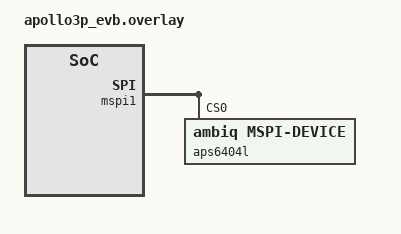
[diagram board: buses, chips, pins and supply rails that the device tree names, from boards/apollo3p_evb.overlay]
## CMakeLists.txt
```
# SPDX-License-Identifier: Apache-2.0

cmake_minimum_required(VERSION 3.28.0)

find_package(Zephyr REQUIRED HINTS $ENV{ZEPHYR_BASE})
project(memc)


if(CONFIG_MEMC_MCUX_FLEXSPI)
  target_include_directories(app PRIVATE ${ZEPHYR_BASE}/drivers/memc)
endif()

if(CONFIG_MEMC_MSPI)
  target_include_directories(app PRIVATE ${ZEPHYR_BASE}/include/zephyr/drivers)
  target_include_directories(app PRIVATE ${ZEPHYR_BASE}/drivers/mspi)
endif()

target_sources(app PRIVATE src/main.c)
```

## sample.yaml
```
sample:
  description: Memory controller sample
  name: memc driver sample
common:
  tags: memc
  harness: console
  harness_config:
    type: one_line
    regex:
      - "Read data matches written data"
tests:
  sample.drivers.memc:
    filter: dt_alias_exists("sram-ext")
    integration_platforms:
      - mimxrt595_evk/mimxrt595s/cm33
  sample.drivers.memc.mspi:
    tags: mspi
    filter: dt_alias_exists("psram0")
    integration_platforms:
      - apollo3p_evb
      - apollo510_evb
  sample.drivers.memc.stm32_mspi:
    tags: mspi
    filter: dt_alias_exists("psram0")
    platform_allow:
      - b_u585i_iot02a
      - stm32h7s78_dk
    integration_platforms:
      - b_u585i_iot02a
      - stm32h7s78_dk
    extra_args:
      - platform:stm32h7s78_dk/stm32h7s7xx:CONF_FILE=boards/stm32h7s78_dk_mspi_psram.conf
      - platform:stm32h7s78_dk/stm32h7s7xx:DTC_OVERLAY_FILE=boards/stm32h7s78_dk_mspi_psram.overlay
```

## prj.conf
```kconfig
CONFIG_MEMC=y
```

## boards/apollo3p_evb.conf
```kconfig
# Copyright (c) 2024, Ambiq Micro Inc. <www.ambiq.com>
# SPDX-License-Identifier: Apache-2.0

CONFIG_LOG=y
CONFIG_LOG_DEFAULT_LEVEL=0
CONFIG_MSPI_INIT_PRIORITY=40
CONFIG_MEMC_INIT_PRIORITY=50
CONFIG_PM_DEVICE=y
```

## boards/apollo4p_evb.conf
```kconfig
# Copyright (c) 2024, Ambiq Micro Inc. <www.ambiq.com>
# SPDX-License-Identifier: Apache-2.0

CONFIG_LOG=y
CONFIG_LOG_DEFAULT_LEVEL=0
CONFIG_MSPI_INIT_PRIORITY=40
CONFIG_MEMC_INIT_PRIORITY=50
CONFIG_PM_DEVICE=y
CONFIG_PM_DEVICE_RUNTIME=y
```

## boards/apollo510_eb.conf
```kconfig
# Copyright (c) 2024 Ambiq Micro Inc. <www.ambiq.com>
# SPDX-License-Identifier: Apache-2.0

CONFIG_MEMC=y
CONFIG_MEMC_MSPI_APS_Z8=y
CONFIG_MEMC_MSPI_APS25616N=y
CONFIG_LOG=y
CONFIG_LOG_DEFAULT_LEVEL=0
CONFIG_MSPI_INIT_PRIORITY=40
CONFIG_MEMC_INIT_PRIORITY=50
```

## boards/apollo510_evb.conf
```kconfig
# Copyright (c) 2025 Ambiq Micro Inc. <www.ambiq.com>
# SPDX-License-Identifier: Apache-2.0

CONFIG_LOG=y
CONFIG_LOG_DEFAULT_LEVEL=0
```

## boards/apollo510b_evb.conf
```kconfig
# Copyright (c) 2025 Ambiq Micro Inc. <www.ambiq.com>
# SPDX-License-Identifier: Apache-2.0

CONFIG_MEMC=y
CONFIG_MEMC_MSPI_APS_Z8=y
CONFIG_MEMC_MSPI_APS51216BA=y
CONFIG_LOG=y
CONFIG_LOG_DEFAULT_LEVEL=0
```

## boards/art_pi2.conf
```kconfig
# SPDX-FileCopyrightText: Copyright The Zephyr Project Contributors
# SPDX-License-Identifier: Apache-2.0

CONFIG_MSPI_MEMMAP=y
CONFIG_MSPI_TIMING=y
```

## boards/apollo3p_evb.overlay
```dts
/*
 * Copyright (c) 2024, Ambiq Micro Inc. <www.ambiq.com>
 *
 * SPDX-License-Identifier: Apache-2.0
 */

/ {
	aliases {
		psram0 = &aps6404l;
	};
};

&gpio64_95 {
	status = "okay";
};

&gpio32_63 {
	status = "okay";
};

&mspi1 {
	pinctrl-0 = <&mspi1_default>;
	pinctrl-1 = <&mspi1_sleep>;
	pinctrl-2 = <&mspi1_psram>;
	pinctrl-names = "default", "sleep", "psram";
	status = "okay";

	ce-gpios = <&gpio64_95 5 GPIO_ACTIVE_LOW>,
		   <&gpio32_63 18 GPIO_ACTIVE_LOW>;

	cmdq-buffer-location = ".mspi_buff";
	cmdq-buffer-size = <256>;

	aps6404l: aps6404l@0 {
		compatible = "ambiq,mspi-device", "mspi-aps6404l";
		size = <DT_SIZE_M(64)>;
		reg = <0>;
		status = "okay";
		mspi-max-frequency = <48000000>;
		mspi-io-mode = "MSPI_IO_MODE_QUAD";
		mspi-data-rate = "MSPI_DATA_RATE_SINGLE";
		mspi-hardware-ce-num = <0>;
		read-command = <0xeb>;
		write-command = <0x38>;
		command-length = "INSTR_1_BYTE";
		address-length = "ADDR_3_BYTE";
		rx-dummy = <6>;
		tx-dummy = <0>;
		memmap-config = <1 0 0 0>;
		ce-break-config = <1024 3>;
		ambiq,timing-config-mask = <3>;
		ambiq,timing-config = <0 6 0 0 0 0 0 0>;
	};
};

&pinctrl {
	mspi1_sleep: mspi1_sleep {
		group1 {
			pinmux = <GPIO_P51>,
				 <GPIO_P52>,
				 <GPIO_P53>,
				 <GPIO_P54>,
				 <GPIO_P55>,
				 <GPIO_P56>,
				 <GPIO_P57>,
				 <GPIO_P58>,
				 <GPIO_P59>,
				 <GPIO_P69>,
				 <GPIO_P50>;
		};
	};

	mspi1_psram: mspi1_psram {
		group1 {
			pinmux = <MSPI1_0_P51>,
				 <MSPI1_1_P52>,
				 <MSPI1_2_P53>,
				 <MSPI1_3_P54>,
				 <MSPI1_4_P55>,
				 <MSPI1_5_P56>,
				 <MSPI1_6_P57>,
				 <MSPI1_7_P58>;
			drive-strength = "0.75";
			ambiq,iom-mspi = <0>;
			ambiq,iom-num = <1>;
		};

		group2 {
			pinmux = <MSPI1_8_P59>;
			drive-strength = "0.75";
			ambiq,iom-mspi = <0>;
			ambiq,iom-num = <2>;
		};

		group3 {
			pinmux = <NCE69_P69>;
			drive-strength = "1.0";
			ambiq,iom-mspi = <0>;
			ambiq,iom-num = <1>;
		};

		group4 {
			pinmux = <GPIO_P50>;
		};
	};
};
```

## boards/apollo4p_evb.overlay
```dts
/*
 * Copyright (c) 2024, Ambiq Micro Inc. <www.ambiq.com>
 *
 * SPDX-License-Identifier: Apache-2.0
 */

/ {
	aliases {
		psram0 = &aps256n;
	};
};

&gpio64_95 {
	status = "okay";
};

&gpio32_63 {
	status = "okay";
};

&mspi0 {

	pinctrl-0 = <&mspi0_default>;
	pinctrl-1 = <&mspi0_sleep>;
	pinctrl-2 = <&mspi0_psram>;
	pinctrl-names = "default","sleep","psram";
	status = "okay";

	ce-gpios = <&gpio32_63 57 GPIO_ACTIVE_LOW>;

	cmdq-buffer-location = ".mspi_buff";
	cmdq-buffer-size = <256>;

	ambiq,rx-config = <2 0 0 0 1 0 0 0 0 0>;

	dqs-support;

	aps256n: aps256n@0 {
		compatible = "ambiq,mspi-device", "mspi-aps256n";
		size = <DT_SIZE_M(32)>;
		reg = <0>;
		status = "okay";
		mspi-max-frequency = <48000000>;
		mspi-io-mode = "MSPI_IO_MODE_HEX";
		mspi-data-rate = "MSPI_DATA_RATE_DUAL";
		mspi-hardware-ce-num = <0>;
		read-command = <0x2020>;
		write-command = <0xA0A0>;
		command-length = "INSTR_2_BYTE";
		address-length = "ADDR_4_BYTE";
		rx-dummy = <6>;
		tx-dummy = <6>;
		xip-config = <1 0 0 0>;
		ce-break-config = <1024 2>;
		ambiq,timing-config-mask = <67>;
		ambiq,timing-config = <6 6 0 0 0 0 16 0>;
		mspi-dqs-enable;
		scramble-config = <0 0 0>;
	};
};

&pinctrl {
	mspi0_sleep: mspi0_sleep{
		group1 {
			pinmux = <GPIO_P64>,
				 <GPIO_P65>,
				 <GPIO_P66>,
				 <GPIO_P67>,
				 <GPIO_P68>,
				 <GPIO_P69>,
				 <GPIO_P70>,
				 <GPIO_P71>,
				 <GPIO_P72>,
				 <GPIO_P73>,
				 <GPIO_P37>,
				 <GPIO_P38>,
				 <GPIO_P39>,
				 <GPIO_P40>,
				 <GPIO_P41>,
				 <GPIO_P42>,
				 <GPIO_P42>,
				 <GPIO_P43>,
				 <GPIO_P44>,
				 <GPIO_P45>;
		};
	};
	mspi0_psram: mspi0_psram{
		group1 {
			pinmux = <MSPI0_0_P64>,
				 <MSPI0_1_P65>,
				 <MSPI0_2_P66>,
				 <MSPI0_3_P67>,
				 <MSPI0_4_P68>,
				 <MSPI0_5_P69>,
				 <MSPI0_6_P70>,
				 <MSPI0_7_P71>,
				 <MSPI0_8_P72>,
				 <MSPI0_9_P73>,
				 <MSPI1_0_P37>,
				 <MSPI1_1_P38>,
				 <MSPI1_2_P39>,
				 <MSPI1_3_P40>,
				 <MSPI1_4_P41>,
				 <MSPI1_5_P42>,
				 <MSPI1_6_P43>,
				 <MSPI1_7_P44>;
			drive-strength = "1.0";
		};
		group2 {
			pinmux = <NCE57_P57>;
			drive-strength = "0.5";
			ambiq,iom-num = <1>;
			ambiq,iom-nce-module = <32>;
		};
		group3 {
			pinmux = <MSPI1_8_P45>;
			drive-strength = "1.0";
			ambiq,interrupt-direction = <0x2>;
		};
	};
};
```

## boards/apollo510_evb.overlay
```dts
/*
 * Copyright (c) 2025, Ambiq Micro Inc. <www.ambiq.com>
 *
 * SPDX-License-Identifier: Apache-2.0
 */

/ {
	aliases {
		psram0 = &aps51216ba;
	};
};

&mspi0 {
	status = "okay";
};

&aps51216ba {
	status = "okay";
};
```

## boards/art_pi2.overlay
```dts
/*
 * SPDX-FileCopyrightText: Copyright The Zephyr Project Contributors
 * SPDX-License-Identifier: Apache-2.0
 */

/ {
	aliases {
		psram0 = &memc;
		sram-ext = &psram;
	};
};
```

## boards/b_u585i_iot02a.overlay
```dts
/*
 * Copyright (c) 2026 STMicroelectronics
 *
 * SPDX-License-Identifier: Apache-2.0
 */

/ {
	aliases {
		psram0 = &memc;
		sram-ext = &psram;
	};
};

&octospi2 {
	status = "disabled";
};
```

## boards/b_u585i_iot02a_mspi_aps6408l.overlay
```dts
/*
 * Copyright (c) 2026 EXALT Technologies
 *
 * SPDX-License-Identifier: Apache-2.0
 */

/delete-node/ &octospi1;

&sram1 {
	status = "disabled";
};

/ {
	aliases {
		psram0 = &aps6408l;
	};

	soc {
		octospi1: spi@420d1400 {
			compatible = "st,stm32-ospi-controller";
			reg = <0x420d1400 0x400>, <0x90000000 DT_SIZE_M(256)>;
			interrupts = <76 0>;
			clock-names = "ospix", "ospi-ker", "ospi-mgr";
			clocks = <&rcc STM32_CLOCK(AHB2_2, 4)>,
				 <&rcc STM32_SRC_SYSCLK OCTOSPI_SEL(0)>,
				 <&rcc STM32_CLOCK(AHB2, 21)>;
			clock-frequency = <DT_FREQ_M(133)>;
			#address-cells = <1>;
			#size-cells = <0>;
			pinctrl-0 = <&octospim_p1_clk_pb10 &octospim_p1_ncs_pb11
				     &octospim_p1_io0_pf8 &octospim_p1_io1_pf9
				     &octospim_p1_io2_pf7 &octospim_p1_io3_pf6
				     &octospim_p1_io4_ph2 &octospim_p1_io5_pi0
				     &octospim_p1_io6_pc3 &octospim_p1_io7_pd7
				     &octospim_p1_dqs_pe3>;
			pinctrl-names = "default";
			st,csbound = <3>;
			st,dqs-port = <1>;
			status = "okay";

			memc: aps6408l: memory@0 {
				compatible = "st,psram-device", "aps-z8";
				reg = <0>;
				size = <DT_SIZE_M(64)>;
				mspi-max-frequency = <DT_FREQ_M(133)>;
				mspi-io-mode = "MSPI_IO_MODE_OCTAL";
				mspi-data-rate = "MSPI_DATA_RATE_S_D_D";
				mspi-hardware-ce-num = <0>;
				read-command = <0x20>;
				write-command = <0xa0>;
				command-length = "INSTR_1_BYTE";
				address-length = "ADDR_4_BYTE";
				rx-dummy = <5>;
				tx-dummy = <5>;
				memmap-config = <1 0 DT_SIZE_M(64) 0>;
				ce-break-config = <1024 4>;
				aps-version = "APS6408L";
				st,mem-type = "apmem";
				st,timing-config = <1>;
				zephyr,pm-device-runtime-auto;
			};
		};
	};
};
```

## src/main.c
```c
/*
 * Copyright 2022 NXP
 *
 * SPDX-License-Identifier: Apache-2.0
 */

#include <zephyr/kernel.h>
#include <string.h>
#include <zephyr/drivers/mspi.h>
#include <zephyr/drivers/memc.h>
#include <zephyr/pm/device_runtime.h>
#include <zephyr/logging/log.h>
LOG_MODULE_REGISTER(main);

#if DT_HAS_COMPAT_STATUS_OKAY(nxp_semc_sdram)
/* SDRAM on the NXP SEMC controller. The device implements the generic
 * memc API, so sample_read()/sample_write() use memc_read()/memc_write().
 */
#define MEMC_DEV  DT_ALIAS(sram_ext)
#define MEMC_BASE ((void *)DT_REG_ADDR(MEMC_DEV))
#define MEMC_SIZE DT_REG_SIZE(MEMC_DEV)
#elif DT_HAS_COMPAT_STATUS_OKAY(nxp_imx_flexspi)
/* Use memc API to get AHB base address for the device */
#include "memc_mcux_flexspi.h"
#define FLEXSPI_DEV DEVICE_DT_GET(DT_PARENT(DT_ALIAS(sram_ext)))
#define MEMC_DEV DT_ALIAS(sram_ext)
#define MEMC_PORT DT_REG_ADDR(DT_ALIAS(sram_ext))
#define MEMC_BASE ((void *)memc_flexspi_get_ahb_address(FLEXSPI_DEV, MEMC_PORT, 0))
#define MEMC_SIZE (DT_PROP(DT_ALIAS(sram_ext), size) / 8)
#elif DT_HAS_COMPAT_STATUS_OKAY(renesas_smartbond_nor_psram)
#include <da1469x_config.h>
#define MEMC_DEV DT_ALIAS(sram_ext)
#define MEMC_BASE ((void *)MCU_QSPIR_M_BASE)
#define MEMC_SIZE (DT_PROP(DT_ALIAS(sram_ext), dev_size) / 8)
#elif DT_HAS_COMPAT_STATUS_OKAY(ambiq_mspi_controller)
#define MEMC_DEV DT_ALIAS(psram0)
#define MSPI_BUS DT_BUS(MEMC_DEV)
#define mspi_get_xip_address(controller) DT_REG_ADDR_BY_IDX(controller, 1)
#define MEMC_BASE (void *)(mspi_get_xip_address(MSPI_BUS))
#define MEMC_SIZE (DT_PROP(MEMC_DEV, size) / 8)
#elif DT_HAS_COMPAT_STATUS_OKAY(st_stm32_fmc_sdram) || \
	DT_HAS_COMPAT_STATUS_OKAY(st_stm32_xspi_psram)
#define MEMC_DEV  DT_ALIAS(sram_ext)
#define MEMC_BASE DT_REG_ADDR(MEMC_DEV)
#define MEMC_SIZE DT_REG_SIZE(MEMC_DEV)
#elif DT_HAS_COMPAT_STATUS_OKAY(nxp_xspi_psram)
#define MEMC_DEV DT_ALIAS(sram_ext)
#define MSPI_BUS DT_BUS(MEMC_DEV)
#define MEMC_BASE DT_REG_ADDR_BY_IDX(MSPI_BUS, 1)
#define MEMC_SIZE (DT_PROP(MEMC_DEV, size) / 8)
#elif DT_HAS_COMPAT_STATUS_OKAY(silabs_siwx91x_qspi_memory)
#define PSRAM_NODE DT_ALIAS(psram0)
#define MEMC_DEV DT_PARENT(PSRAM_NODE)
#define MEMC_BASE ((void *)DT_REG_ADDR(PSRAM_NODE))
#define MEMC_SIZE DT_REG_SIZE(PSRAM_NODE)
#elif DT_HAS_COMPAT_STATUS_OKAY(st_stm32_xspi_controller)
#define MEMC_DEV DT_ALIAS(psram0)
#define MSPI_BUS DT_BUS(MEMC_DEV)
#define MEMC_BASE ((void *)DT_REG_ADDR_BY_IDX(MSPI_BUS, 1))
#define MEMC_SIZE (DT_PROP(MEMC_DEV, size) / 8)
#elif DT_HAS_COMPAT_STATUS_OKAY(st_stm32_ospi_controller)
#define MEMC_DEV DT_ALIAS(psram0)
#define MSPI_BUS DT_BUS(MEMC_DEV)
#define MEMC_BASE ((void *)DT_REG_ADDR_BY_IDX(MSPI_BUS, 1))
#define MEMC_SIZE (DT_PROP(MEMC_DEV, size) / 8)
#elif DT_HAS_COMPAT_STATUS_OKAY(nordic_nrf_mspi)
/* Device uses memc API - MEMC_BASE is unused at runtime */
#define MEMC_DEV DT_ALIAS(psram0)
#define MEMC_SIZE (DT_PROP(MEMC_DEV, size) / 8)
#define MEMC_BASE ((void *)0)
#else
#error At least one driver should be selected!
#endif

static inline int sample_write(const struct device *dev, uint32_t offset,
			       const uint8_t *buf, size_t len)
{
	if (DEVICE_API_IS(memc, dev)) {
		return memc_write(dev, offset, buf, len);
	}

	memcpy((uint8_t *)MEMC_BASE + offset, buf, len);
	return 0;
}

static inline int sample_read(const struct device *dev, uint32_t offset,
			      uint8_t *buf, size_t len)
{
	if (DEVICE_API_IS(memc, dev)) {
		return memc_read(dev, offset, buf, len);
	}

	memcpy(buf, (const uint8_t *)MEMC_BASE + offset, len);
	return 0;
}

void dump_memory(uint8_t *p, uint32_t size)
{
	uint32_t i, j;

	for (i = 0, j = 0; j < (size / 16); i += 16, j++) {
		printk("%02x %02x %02x %02x %02x %02x %02x %02x ",
			p[i], p[i+1], p[i+2], p[i+3],
			p[i+4], p[i+5], p[i+6], p[i+7]);
		printk("%02x %02x %02x %02x %02x %02x %02x %02x\n",
			p[i+8], p[i+9], p[i+10], p[i+11],
			p[i+12], p[i+13], p[i+14], p[i+15]);
		/* Split dump at 256B boundaries */
		if (((i + 16) & 0xFF) == 0) {
			printk("\n");
		}
	}
	/* Dump any remaining data after 16 byte blocks */
	for (; i < size; i++) {
		printk("%02x ", p[i]);
	}
	printk("\n");
}

#define BUF_SIZE 1024

uint8_t memc_write_buffer[BUF_SIZE];
uint8_t memc_read_buffer[BUF_SIZE];

int main(void)
{
	const struct device *dev = DEVICE_DT_GET(MEMC_DEV);
	uint32_t i, j;
	int rc;

	if (!device_is_ready(dev)) {
		printk("Device %s is not ready\n", dev->name);
		return -ENODEV;
	}

	/* Initialize write buffer */
	for (i = 0; i < BUF_SIZE; i++) {
		memc_write_buffer[i] = (uint8_t)i;
	}

	pm_device_runtime_get(dev);

	printk("Writing to memory, size 0x%0x\n\n", MEMC_SIZE);

	/* Write pattern to memory in BUF_SIZE chunks */
	for (i = 0, j = 0; j < (MEMC_SIZE / BUF_SIZE); i += BUF_SIZE, j++) {
		rc = sample_write(dev, i, memc_write_buffer, BUF_SIZE);
		if (rc) {
			printk("Write failed at offset 0x%x: %d\n", i, rc);
			return rc;
		}
	}
	/* Write any remaining bytes in one call */
	if (i < MEMC_SIZE) {
		rc = sample_write(dev, i, memc_write_buffer, MEMC_SIZE - i);
		if (rc) {
			printk("Write failed at offset 0x%x: %d\n", i, rc);
			return rc;
		}
	}

	/* Read back and verify in BUF_SIZE chunks */
	for (i = 0, j = 0; j < (MEMC_SIZE / BUF_SIZE); i += BUF_SIZE, j++) {
		rc = sample_read(dev, i, memc_read_buffer, BUF_SIZE);
		if (rc) {
			printk("Read failed at offset 0x%x: %d\n", i, rc);
			return rc;
		}
		if (memcmp(memc_read_buffer, memc_write_buffer, BUF_SIZE)) {
			printk("Error: read data differs in range [0x%x- 0x%x]\n",
				i, i + (BUF_SIZE - 1));
			dump_memory(memc_write_buffer, BUF_SIZE);
			dump_memory(memc_read_buffer, BUF_SIZE);
			return 0;
		}
		LOG_INF("Check (%i/%i) passed!", j, (MEMC_SIZE / BUF_SIZE) - 1);
	}
	/* Verify any remaining bytes in one call */
	if (i < MEMC_SIZE) {
		uint32_t remain = MEMC_SIZE - i;

		rc = sample_read(dev, i, memc_read_buffer, remain);
		if (rc) {
			printk("Read failed at offset 0x%x: %d\n", i, rc);
			return rc;
		}
		if (memcmp(memc_read_buffer, memc_write_buffer, remain)) {
			printk("Error: read data differs at tail offset 0x%x\n", i);
			return 0;
		}
	}

	printk("First 1KB of Data in memory:\n");
	printk("===========================\n");
	sample_read(dev, 0, memc_read_buffer, KB(1));
	dump_memory(memc_read_buffer, KB(1));

	pm_device_runtime_put(dev);
	printk("Read data matches written data\n");
	return 0;
}
```
